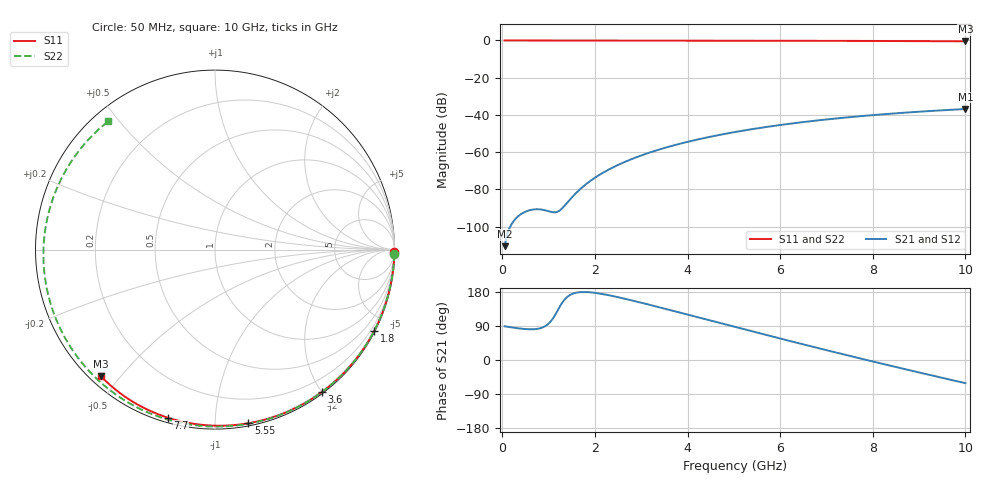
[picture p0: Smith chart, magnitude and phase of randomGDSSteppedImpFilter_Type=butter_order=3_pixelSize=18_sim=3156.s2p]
! freq	dB(S11)	phase(S11)	dB(S12)	phase(S12)
!  dB(S21)	phase(S21)	dB(S22)	phase(S22)
!S-par simulation data
#  GHz  S  DB  R 50
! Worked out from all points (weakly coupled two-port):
!   200 points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, 50 MHz to 10 GHz, reference 50 ohm
!   highest |S21| = -36.80 dB at 10 GHz (marker M1); lowest = -110.4 dB at 50 MHz (marker M2)
!   lowest |S11| = -0.4 dB at 10 GHz (marker M3), VSWR 38.64, Z = 1.55 - j22.1 ohm
!   |S11| at or under -10 dB: nowhere
!   |S22| runs from -0.6 to 0.0 dB; largest |S21 - S12| = 0
!   S11 on the Smith chart (normalised r, x): 50 MHz: open; 1.8 GHz: 0.04, -4.15; 3.6 GHz: 0.02, -2.01; 5.55 GHz: 0.02, -1.21; 7.7 GHz: 0.02, -0.76; 10 GHz: 0.03, -0.44
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0.05  -0.00 -0.8  -110.43 89.0  -110.43 89.0  -0.00 -1.3
0.4  -0.01 -6.1  -93.29 82.8  -93.29 82.8  -0.01 -10.5
0.8  -0.02 -12.2  -90.65 83.2  -90.65 83.2  -0.03 -21.0
1.2  -0.02 -18.2  -91.86 131.8  -91.86 131.8  -0.04 -31.3
1.65  -0.03 -24.9  -80.53 178.7  -80.53 178.7  -0.05 -42.7
1.75  -0.03 -26.4  -78.32 179.4  -78.32 179.4  -0.06 -45.2
1.8  -0.03 -27.1  -77.30 179.3  -77.30 179.3  -0.06 -46.5
2.1  -0.04 -31.5  -72.11 175.4  -72.11 175.4  -0.07 -53.9
2.45  -0.05 -36.6  -67.40 167.1  -67.40 167.1  -0.08 -62.4
2.9  -0.06 -43.1  -62.65 154.2  -62.65 154.2  -0.09 -73.2
3.4  -0.07 -50.2  -58.46 138.8  -58.46 138.8  -0.11 -84.7
3.6  -0.07 -53.0  -57.02 132.5  -57.02 132.5  -0.12 -89.3
4.3  -0.09 -62.6  -52.70 110.3  -52.70 110.3  -0.15 -104.8
5.05  -0.11 -72.7  -49.04 86.5  -49.04 86.5  -0.18 -120.9
5.55  -0.13 -79.2  -47.00 70.7  -47.00 70.7  -0.21 -131.4
6.15  -0.15 -86.8  -44.89 52.0  -44.89 52.0  -0.25 -143.9
6.7  -0.18 -93.6  -43.23 35.1  -43.23 35.1  -0.29 -155.3
7.2  -0.21 -99.7  -41.90 19.9  -41.90 19.9  -0.33 -165.8
7.7  -0.24 -105.7  -40.72 5.0  -40.72 5.0  -0.38 -176.5
8.35  -0.29 -113.3  -39.39 -14.2  -39.39 -14.2  -0.44 169.3
9.15  -0.36 -122.5  -38.01 -37.2  -38.01 -37.2  -0.53 150.8
10  -0.45 -132.2  -36.80 -61.1  -36.80 -61.1  -0.63 129.8
